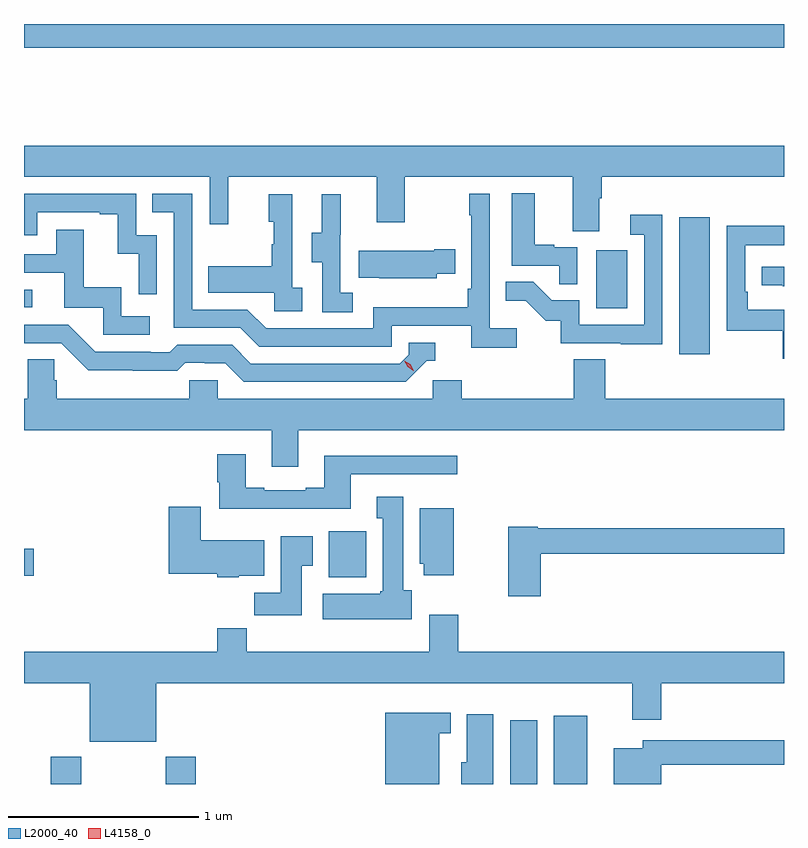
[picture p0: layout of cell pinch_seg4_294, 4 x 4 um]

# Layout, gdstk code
import gdstk
lib = gdstk.Library(unit=1e-6, precision=1e-09)
def R(c, l, rs):  # rectangles x0, y0, x1, y1
    for r in rs: c.add(gdstk.rectangle(r[:2], r[2:], *l))
def P(c, l, *ps):  # polygons
    for p in ps: c.add(gdstk.Polygon(p, *l))
L2000_40 = (2000, 40)
L4158_0 = (4158, 0)

pinch_seg4_294 = lib.new_cell('pinch_seg4_294')
R(pinch_seg4_294, L2000_40, [(936.605,789.629,936.765,789.772), (937.21,789.629,937.37,789.772), (939.023,789.629,939.166,789.964), (939.254,789.629,939.43,789.988), (938.069,790.718,938.266,790.96), (936.465,790.726,936.517,790.868), (939.914,791.892,940.075,792.613), (939.476,792.132,939.64,792.439), (936.465,792.138,936.508,792.231), (936.465,793.504,940.465,793.629)])
P(pinch_seg4_294, L2000_40, [(939.493,792.712),(939.506,792.712),(939.506,792.824),(940.465,792.824),(940.465,792.988),(936.465,792.988),(936.465,792.824),(937.443,792.824),(937.443,792.576),(937.541,792.576),(937.541,792.824),(938.321,792.824),(938.321,792.585),(938.469,792.585),(938.469,792.824),(939.353,792.824),(939.353,792.538),(939.493,792.538)],
  [(939.378,792.453),(939.257,792.453),(939.257,792.466),(939.154,792.466),(939.154,792.739),(939.032,792.739),(939.032,792.357),(939.283,792.357),(939.283,792.259),(939.378,792.259)],
  [(939.058,792.028),(938.916,792.028),(938.916,792.736),(938.808,792.736),(938.808,792.623),(938.82,792.623),(938.82,792.235),(938.8,792.235),(938.8,792.139),(938.304,792.139),(938.304,792.027),(937.74,792.027),(937.641,792.126),(937.35,792.126),(937.35,792.735),(937.141,792.735),(937.141,792.639),(937.254,792.639),(937.254,792.03),(937.604,792.03),(937.703,791.931),(938.4,791.931),(938.4,792.042),(938.819,792.042),(938.819,791.926),(939.058,791.926)],
  [(937.164,792.516),(937.056,792.516),(937.056,792.735),(936.465,792.735),(936.465,792.516),(936.534,792.516),(936.534,792.639),(936.863,792.639),(936.863,792.627),(936.959,792.627),(936.959,792.419),(937.068,792.419),(937.068,792.207),(937.164,792.207)],
  [(937.93,792.242),(937.878,792.242),(937.878,792.733),(937.754,792.733),(937.754,792.588),(937.78,792.588),(937.78,792.47),(937.77,792.47),(937.77,792.355),(937.435,792.355),(937.435,792.215),(937.782,792.215),(937.782,792.117),(937.93,792.117)],
  [(938.194,792.215),(938.13,792.215),(938.13,792.519),(938.132,792.519),(938.132,792.733),(938.033,792.733),(938.033,792.531),(937.979,792.531),(937.979,792.376),(938.034,792.376),(938.034,792.112),(938.194,792.112)],
  [(939.825,792.625),(939.657,792.625),(939.657,792.519),(939.729,792.519),(939.729,792.045),(939.387,792.045),(939.387,792.174),(939.242,792.174),(939.144,792.272),(939.001,792.272),(939.001,792.173),(939.105,792.173),(939.212,792.066),(939.289,792.066),(939.289,791.949),(939.607,791.949),(939.607,791.944),(939.825,791.944)],
  [(940.465,792.124),(940.274,792.124),(940.274,792.22),(940.26,792.22),(940.26,792.465),(940.465,792.465),(940.465,792.566),(940.164,792.566),(940.164,792.015),(940.458,792.015),(940.458,791.868),(940.465,791.868)],
  [(937.126,792.09),(936.978,792.09),(936.978,792.244),(936.779,792.244),(936.779,792.547),(936.635,792.547),(936.635,792.417),(936.465,792.417),(936.465,792.321),(936.677,792.321),(936.677,792.135),(936.882,792.135),(936.882,791.994),(937.126,791.994)],
  [(938.637,792.314),(938.735,792.314),(938.735,792.444),(938.624,792.444),(938.624,792.436),(938.227,792.436),(938.227,792.293),(938.335,792.293),(938.335,792.29),(938.637,792.29)],
  [(940.465,792.351),(940.347,792.351),(940.347,792.255),(940.459,792.255),(940.459,792.25),(940.465,792.25)],
  [(938.586,791.856),(938.629,791.856),(938.629,791.952),(938.49,791.952),(938.49,791.889),(938.442,791.841),(937.659,791.841),(937.56,791.94),(937.271,791.94),(937.232,791.901),(937.133,791.901),(937.133,791.904),(936.84,791.904),(936.699,792.045),(936.465,792.045),(936.465,791.949),(936.66,791.949),(936.802,791.807),(937.038,791.807),(937.038,791.805),(937.271,791.805),(937.313,791.847),(937.416,791.847),(937.416,791.844),(937.523,791.844),(937.622,791.745),(938.475,791.745)],
  [(937.909,791.492),(940.465,791.492),(940.465,791.656),(939.524,791.656),(939.524,791.864),(939.359,791.864),(939.359,791.656),(938.768,791.656),(938.768,791.754),(938.616,791.754),(938.616,791.656),(937.485,791.656),(937.485,791.754),(937.335,791.754),(937.335,791.656),(936.638,791.656),(936.638,791.754),(936.623,791.754),(936.623,791.864),(936.486,791.864),(936.486,791.656),(936.465,791.656),(936.465,791.492),(937.769,791.492),(937.769,791.298),(937.909,791.298)],
  [(938.185,791.259),(938.746,791.259),(938.746,791.356),(938.045,791.356),(938.045,791.188),(937.949,791.188),(937.949,791.175),(937.729,791.175),(937.729,791.188),(937.633,791.188),(937.633,791.365),(937.481,791.365),(937.481,791.217),(937.493,791.217),(937.493,791.078),(938.185,791.078)],
  [(938.506,790.65),(938.461,790.65),(938.461,791.14),(938.321,791.14),(938.321,791.027),(938.354,791.027),(938.354,790.644),(938.341,790.644),(938.341,790.63),(938.037,790.63),(938.037,790.496),(938.506,790.496)],
  [(937.596,790.724),(937.729,790.724),(937.729,790.912),(937.396,790.912),(937.396,791.089),(937.226,791.089),(937.226,790.736),(937.482,790.736),(937.482,790.718),(937.596,790.718)],
  [(938.728,791.08),(938.549,791.08),(938.549,790.788),(938.57,790.788),(938.57,790.728),(938.728,790.728)],
  [(939.185,790.84),(940.465,790.84),(940.465,790.976),(939.168,790.976),(939.168,790.984),(939.014,790.984),(939.014,790.617),(939.185,790.617)],
  [(937.927,790.777),(937.984,790.777),(937.984,790.933),(937.817,790.933),(937.817,790.636),(937.678,790.636),(937.678,790.518),(937.927,790.518)],
  [(937.162,790.16),(939.665,790.16),(939.665,789.966),(939.818,789.966),(939.818,790.16),(940.465,790.16),(940.465,790.324),(938.75,790.324),(938.75,790.519),(938.597,790.519),(938.597,790.324),(937.637,790.324),(937.637,790.448),(937.481,790.448),(937.481,790.324),(936.465,790.324),(936.465,790.16),(936.812,790.16),(936.812,789.851),(937.162,789.851)],
  [(938.65,789.897),(938.71,789.897),(938.71,790.005),(938.366,790.005),(938.366,789.629),(938.65,789.629)],
  [(938.935,789.997),(938.795,789.997),(938.795,789.744),(938.765,789.744),(938.765,789.629),(938.935,789.629)],
  [(939.82,789.73),(940.465,789.73),(940.465,789.859),(939.722,789.859),(939.722,789.817),(939.569,789.817),(939.569,789.629),(939.82,789.629)])
P(pinch_seg4_294, L4158_0, [(938.514,791.804),(938.484,791.824),(938.467,791.856),(938.467,791.857),(938.467,791.857),(938.498,791.837),(938.515,791.804),(938.515,791.804)])

lib.write_gds('pinch_seg4_294.gds')
